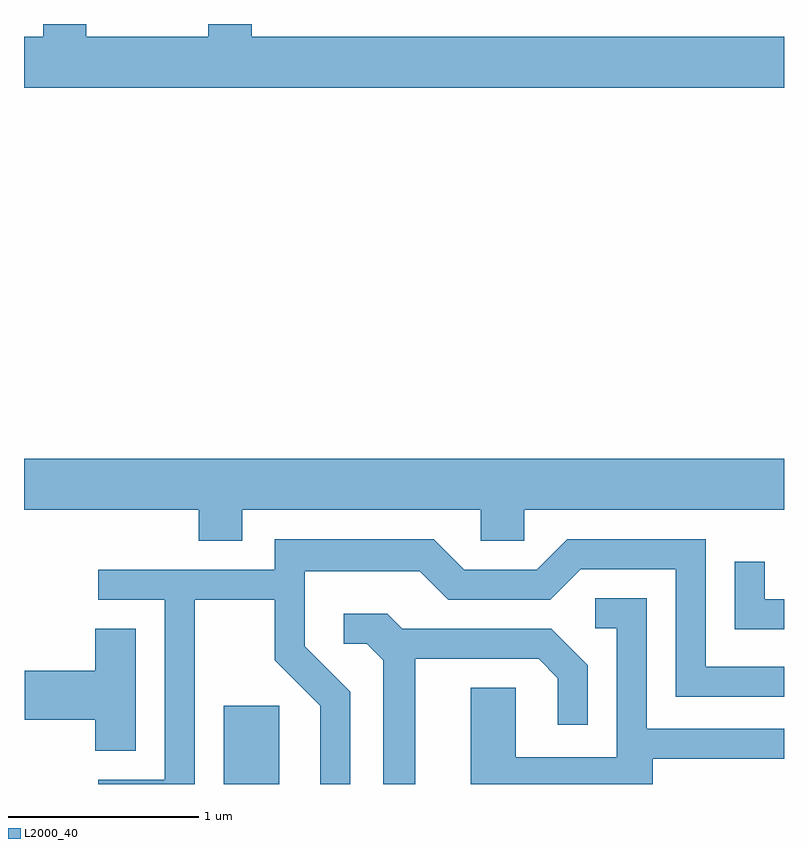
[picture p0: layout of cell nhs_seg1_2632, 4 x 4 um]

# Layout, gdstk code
import gdstk
lib = gdstk.Library(unit=1e-6, precision=1e-09)
def R(c, l, rs):  # rectangles x0, y0, x1, y1
    for r in rs: c.add(gdstk.rectangle(r[:2], r[2:], *l))
def P(c, l, *ps):  # polygons
    for p in ps: c.add(gdstk.Polygon(p, *l))
L2000_40 = (2000, 40)

nhs_seg1_2632 = lib.new_cell('nhs_seg1_2632')
R(nhs_seg1_2632, L2000_40, [(266.661,873.712,266.954,874.124)])
P(nhs_seg1_2632, L2000_40, [(269.611,877.644),(266.809,877.644),(266.809,877.712),(266.581,877.712),(266.581,877.644),(265.939,877.644),(265.939,877.712),(265.711,877.712),(265.711,877.644),(265.611,877.644),(265.611,877.376),(269.611,877.376)],
  [(266.759,875.156),(268.016,875.156),(268.016,874.991),(268.244,874.991),(268.244,875.156),(269.611,875.156),(269.611,875.424),(265.611,875.424),(265.611,875.156),(266.531,875.156),(266.531,874.991),(266.759,874.991)],
  [(266.509,874.681),(266.931,874.681),(266.931,874.364),(267.171,874.124),(267.171,873.712),(267.329,873.712),(267.329,874.197),(267.089,874.437),(267.089,874.831),(267.694,874.831),(267.844,874.681),(268.382,874.681),(268.542,874.841),(269.041,874.841),(269.041,874.171),(269.611,874.171),(269.611,874.329),(269.199,874.329),(269.199,874.999),(268.469,874.999),(268.309,874.839),(267.927,874.839),(267.767,874.999),(266.931,874.999),(266.931,874.839),(266.003,874.839),(266.003,874.681),(266.351,874.681),(266.351,873.734),(266.003,873.734),(266.003,873.712),(266.509,873.712)],
  [(269.611,874.684),(269.509,874.684),(269.509,874.883),(269.351,874.883),(269.351,874.526),(269.611,874.526)],
  [(268.919,873.846),(269.611,873.846),(269.611,874.004),(268.889,874.004),(268.889,874.689),(268.618,874.689),(268.618,874.531),(268.731,874.531),(268.731,873.854),(268.199,873.854),(268.199,874.219),(267.961,874.219),(267.961,873.712),(268.919,873.712)],
  [(267.669,874.371),(268.319,874.371),(268.421,874.269),(268.421,874.023),(268.579,874.023),(268.579,874.337),(268.387,874.529),(267.602,874.529),(267.522,874.609),(267.293,874.609),(267.293,874.451),(267.414,874.451),(267.501,874.364),(267.501,873.712),(267.669,873.712)],
  [(266.199,874.529),(265.986,874.529),(265.986,874.309),(265.616,874.309),(265.616,874.051),(265.986,874.051),(265.986,873.886),(266.199,873.886)])

lib.write_gds('nhs_seg1_2632.gds')
